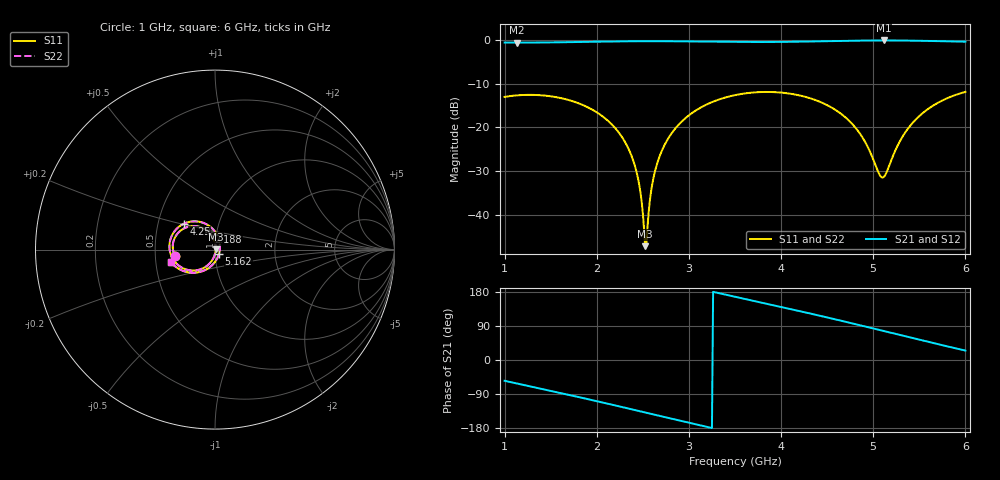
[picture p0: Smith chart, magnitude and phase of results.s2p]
! rfsim (KiCad + openEMS)
# HZ S RI R 50
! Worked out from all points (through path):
!   401 points, 1 GHz to 6 GHz, reference 50 ohm
!   highest |S21| = -0.04 dB at 5.112 GHz (marker M1); lowest = -0.5 dB at 1.137 GHz (marker M2)
!   group delay of S21, straight-line fit = 156 ps
!   lowest |S11| = -47.2 dB at 2.525 GHz (marker M3), VSWR 1.01, Z = 50.4 + j0.164 ohm
!   |S11| at or under -10 dB: start of sweep to end of sweep
!   |S22| runs from -47.2 to -11.8 dB; largest |S21 - S12| = 1.4e-06
!   S11 on the Smith chart (normalised r, x): 1 GHz: 0.64, -0.05; 2.188 GHz: 0.92, +0.18; 4.25 GHz: 0.68, +0.20; 5.162 GHz: 1.04, -0.06; 6 GHz: 0.60, -0.09
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1e9  -0.2212 -0.0365  0.542 -0.7694  0.542 -0.7694  -0.2212 -0.0365
1.1375e9  -0.2335 -0.00353  0.4396 -0.8315  0.4396 -0.8315  -0.2335 -0.00353
1.8375e9  -0.1278 0.1309  -0.1604 -0.9432  -0.1604 -0.9432  -0.1278 0.1309
2.1875e9  -0.0326 0.0963  -0.4727 -0.8469  -0.4727 -0.8469  -0.0326 0.0963
2.4125e9  0.000979 0.0366  -0.6525 -0.7248  -0.6525 -0.7248  0.000979 0.0366
2.4625e9  0.00356 0.0212  -0.6884 -0.6917  -0.6884 -0.6917  0.00356 0.0212
2.525e9  0.00403 0.00162  -0.7307 -0.6476  -0.7307 -0.6476  0.00403 0.00162
2.55e9  0.00334 -0.0062  -0.7468 -0.6292  -0.7468 -0.6292  0.00334 -0.0062
2.6125e9  -0.000521 -0.0255  -0.7848 -0.5812  -0.7848 -0.5812  -0.000521 -0.0255
2.675e9  -0.0074 -0.0439  -0.8193 -0.5309  -0.8193 -0.5309  -0.0074 -0.0439
2.8e9  -0.0294 -0.0766  -0.8776 -0.4241  -0.8776 -0.4241  -0.0294 -0.0766
2.975e9  -0.075 -0.1076  -0.9339 -0.2653  -0.9339 -0.2653  -0.075 -0.1076
3.5e9  -0.2253 -0.066  -0.9318 0.2174  -0.9318 0.2174  -0.2253 -0.066
4.25e9  -0.1751 0.1434  -0.572 0.7786  -0.572 0.7786  -0.1751 0.1434
4.3375e9  -0.1469 0.1535  -0.5061 0.8273  -0.5061 0.8273  -0.1469 0.1535
4.775e9  -0.00652 0.1086  -0.1117 0.9826  -0.1117 0.9826  -0.00652 0.1086
5.1125e9  0.0256 -0.00826  0.232 0.968  0.232 0.968  0.0256 -0.00826
5.1625e9  0.0211 -0.0266  0.2819 0.9545  0.2819 0.9545  0.0211 -0.0266
5.175e9  0.0196 -0.0311  0.2943 0.9507  0.2943 0.9507  0.0196 -0.0311
5.3125e9  -0.0064 -0.0765  0.4257 0.8973  0.4257 0.8973  -0.0064 -0.0765
5.4875e9  -0.0604 -0.1165  0.5768 0.8018  0.5768 0.8018  -0.0604 -0.1165
6e9  -0.2461 -0.0696  0.8742 0.4052  0.8742 0.4052  -0.2461 -0.0696
